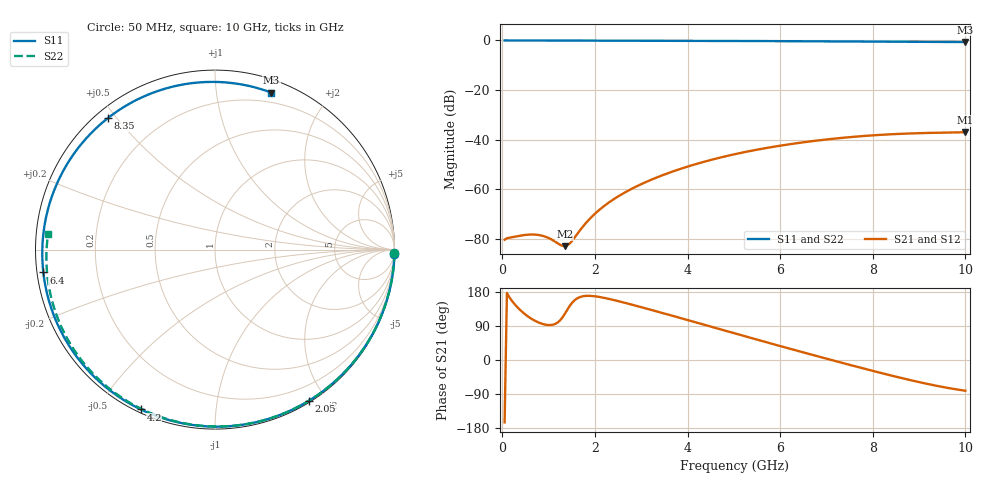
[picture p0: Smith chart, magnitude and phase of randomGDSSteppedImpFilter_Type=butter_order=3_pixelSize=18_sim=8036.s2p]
! freq	dB(S11)	phase(S11)	dB(S12)	phase(S12)
!  dB(S21)	phase(S21)	dB(S22)	phase(S22)
!S-par simulation data
#  GHz  S  DB  R 50
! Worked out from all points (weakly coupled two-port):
!   200 points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, 50 MHz to 10 GHz, reference 50 ohm
!   highest |S21| = -37.01 dB at 10 GHz (marker M1); lowest = -83.0 dB at 1.35 GHz (marker M2)
!   lowest |S11| = -0.6 dB at 10 GHz (marker M3), VSWR 27.15, Z = 5.55 + j70.8 ohm
!   |S11| at or under -10 dB: nowhere
!   |S22| runs from -0.6 to 0.0 dB; largest |S21 - S12| = 0
!   S11 on the Smith chart (normalised r, x): 50 MHz: 0, -79; 2.05 GHz: 0.02, -1.80; 4.2 GHz: 0.01, -0.64; 6.4 GHz: 0.02, -0.07; 8.35 GHz: 0.03, +0.48; 10 GHz: 0.11, +1.42
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0.05  -0.00 -1.5  -80.33 -164.8  -80.33 -164.8  -0.00 -1.1
0.65  -0.02 -18.8  -78.25 107.4  -78.25 107.4  -0.02 -14.1
1.05  -0.04 -30.2  -80.12 92.3  -80.12 92.3  -0.03 -22.6
1.35  -0.05 -38.7  -82.95 121.8  -82.95 121.8  -0.04 -29.0
1.55  -0.06 -44.3  -79.78 156.5  -79.78 156.5  -0.04 -33.2
1.75  -0.06 -49.9  -74.84 168.4  -74.84 168.4  -0.05 -37.4
2.05  -0.07 -58.1  -69.03 167.3  -69.03 167.3  -0.06 -43.6
2.35  -0.08 -66.3  -64.71 159.9  -64.71 159.9  -0.06 -49.7
2.65  -0.10 -74.4  -61.27 150.8  -61.27 150.8  -0.07 -55.7
3.4  -0.12 -94.2  -54.77 126.0  -54.77 126.0  -0.09 -70.4
4.2  -0.16 -114.9  -49.75 98.7  -49.75 98.7  -0.12 -85.4
5.05  -0.21 -136.7  -45.74 69.3  -45.74 69.3  -0.15 -100.8
5.75  -0.26 -155.0  -43.20 45.3  -43.20 45.3  -0.19 -113.0
6.4  -0.31 -172.4  -41.33 23.4  -41.33 23.4  -0.23 -124.0
6.7  -0.34 179.3  -40.59 13.4  -40.59 13.4  -0.25 -129.1
7.15  -0.38 166.4  -39.63 -1.4  -39.63 -1.4  -0.28 -136.6
7.55  -0.42 154.5  -38.91 -14.4  -38.91 -14.4  -0.32 -143.3
8.35  -0.49 129.1  -37.87 -39.5  -37.87 -39.5  -0.39 -156.6
8.8  -0.53 113.8  -37.51 -52.8  -37.51 -52.8  -0.44 -164.2
9.2  -0.57 99.7  -37.29 -63.6  -37.29 -63.6  -0.49 -171.1
9.6  -0.60 85.1  -37.14 -73.2  -37.14 -73.2  -0.54 -178.1
10  -0.64 70.2  -37.01 -81.1  -37.01 -81.1  -0.59 174.8
